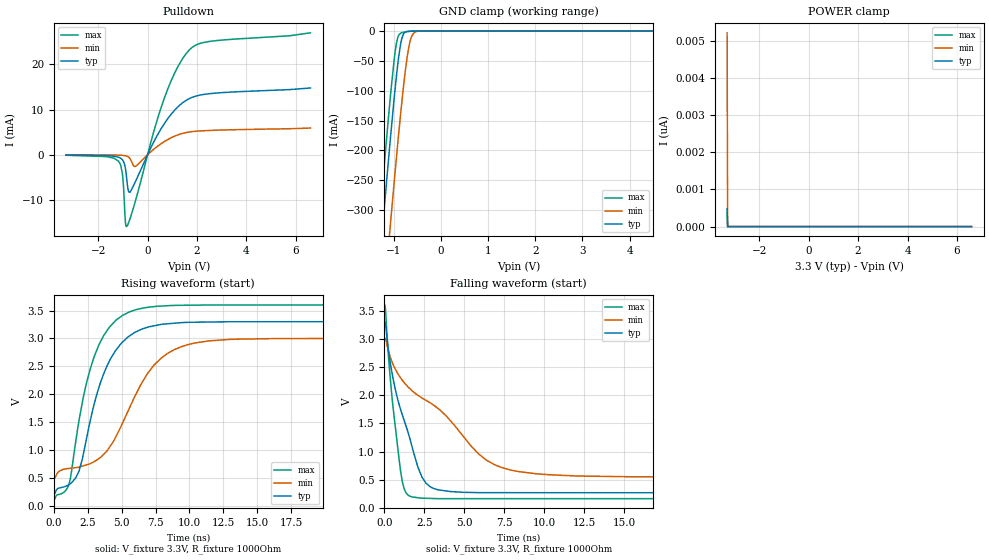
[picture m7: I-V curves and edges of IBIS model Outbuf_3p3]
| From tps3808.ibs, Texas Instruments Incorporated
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|   Model Outbuf_3p3 open-drain output buffer
[Model]   Outbuf_3p3
Model_type   Open_drain
Polarity   Non-Inverting
Vmeas = 1.65
Vref = 3.3
Cref = 0pF
Rref = 1000
|   typ   min   max
|   (nom PVT)   (fast PVT)   (slow PVT)
C_comp   10.28p   10.16p   10.96p
|C_comp (ON state)   10.28p   10.16p   10.96p
|C_comp (OFF state)   9.77p   9.64p   10.28p
| Where   nom PVT is  Nominal Process, 3.3V, 27C
|   Fast PVT is Strong Process, 3.6V, -40C
|   Slow PVT is Weak Process, 3.0V, 125C
[Voltage Range]   3.3   3   3.6
[Temperature Range]   27   150   -40
[Pullup Reference]   3.3   3   3.6
[Pulldown Reference]   -0   -0   -0
[Power Clamp Reference]   3.3   3   3.6
[GND Clamp Reference]   -0   -0   -0
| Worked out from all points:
|   slope of the pulldown table from 0 to 0.495 V, typ, clamps not added: 93.7 ohm
|   GND clamp passes 1 mA (typ) near -0.73 V on its own axis
|   falling waveform, V_fixture 3.3V, R_fixture 1000Ohm: 20-80 % time 1.63ns typ, 5.02ns min, 725ps max; typ from 3.3 V to 0.265 V
|   rising waveform, V_fixture 3.3V, R_fixture 1000Ohm: 20-80 % time 2.2ns typ, 3.28ns min, 1.94ns max; typ from 0.265 V to 3.3 V
[Pulldown]
|   Voltage   I(typ)   I(min)   I(max)
-3.3V     -48.81uA   -11.98uA   -109uA
-1.181V   -529.5uA   -87.94uA   -1.405mA
-1.013V   -1.159mA   -142.9uA   -4.494mA
-914.1mV  -2.544mA   -212.7uA   -13.61mA
-864.6mV  -4.292mA   -273.1uA   -15.88mA
-795.3mV  -7.566mA   -421.2uA   -15.39mA
-706.2mV  -8.231mA   -883.2uA   -14.06mA
-488.4mV  -5.882mA   -2.567mA   -10.13mA
699.6mV   7.07mA     2.994mA    12.84mA
1.67V     12.37mA    5.017mA    23.07mA
2.501V    13.5mA     5.374mA    25.05mA
6.59V     14.77mA    5.903mA    26.96mA
[GND Clamp]
|   Voltage   I(typ)   I(min)   I(max)
-3.3V     -2.341A    -2.478A    -2.275A
-1.32V    -406.6mA   -552.5mA   -334.1mA
-1.211V   -305.2mA   -451.1mA   -232.7mA
-1.082V   -189.1mA   -333.5mA   -118.3mA
-963.6mV  -90.17mA   -228.7mA   -30.3mA
-914.1mV  -54.42mA   -186.7mA   -10.43mA
-854.7mV  -21.35mA   -138.5mA   -3.597mA
-795.3mV  -5.181mA   -93.7mA    -2.076mA
-676.5mV  -380.5uA   -25.13mA   -643.3uA
-607.2mV  -148uA     -6.881mA   -298uA
-508.2mV  -52.78uA   -658.7uA   -126.6uA
6.59V     0A         0A         0A
[POWER Clamp]
|   Voltage   I(typ)   I(min)   I(max)
-3.3V     480.9pA    5.224nA    362.9pA
-3.28V    0A         0A         0A
-3.27V    0A         0A         0A
6.59V     0A         0A         0A
[Ramp]
R_load = 1000
|   typ   min   max
dV/dt_r   1.82077/2.19657e-09   1.47268/3.28234e-09   2.06333/1.944e-09
dV/dt_f   1.82077/1.63452e-09   1.47262/5.02044e-09   2.06333/7.25668e-10
[Falling Waveform]
V_fixture = 3.3V
V_fixture_min = 3V
V_fixture_max = 3.6V
R_fixture = 1000Ohm
C_fixture = 0F
|   Time   V(typ)   V(min)   V(max)
0s        3.3V       3V         3.6V
66.84ps   3.282V     3.005V     3.541V
453.9ps   2.437V     2.613V     2.035V
1.019ns   1.744V     2.307V     641.7mV
1.542ns   1.281V     2.131V     214.2mV
2.101ns   719.7mV    1.999V     178.3mV
2.844ns   377.8mV    1.869V     166.4mV
5.909ns   268.8mV    953.3mV    162.1mV
7.909ns   268.1mV    670.6mV    162mV
24.9ns    265.4mV    545.6mV    161.1mV
[Rising Waveform]
V_fixture = 3.3V
V_fixture_min = 3V
V_fixture_max = 3.6V
R_fixture = 1000Ohm
C_fixture = 0F
|   Time   V(typ)   V(min)   V(max)
0s        265.4mV    545.5mV    161.1mV
1.123ns   382.6mV    672.4mV    394.7mV
1.853ns   620.9mV    697.2mV    1.523V
2.454ns   1.258V     739.4mV    2.246V
3.317ns   2.116V     849.5mV    2.882V
4.185ns   2.637V     1.081V     3.224V
5.094ns   2.941V     1.5V       3.417V
6.909ns   3.201V     2.374V     3.556V
9.409ns   3.283V     2.853V     3.593V
24.9ns    3.3V       3V         3.6V
